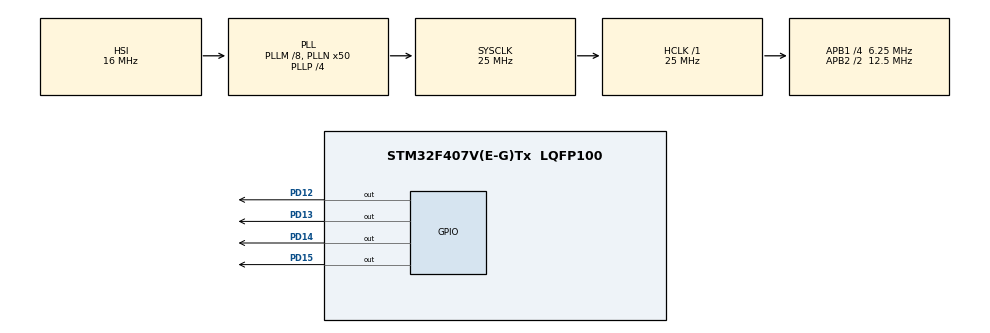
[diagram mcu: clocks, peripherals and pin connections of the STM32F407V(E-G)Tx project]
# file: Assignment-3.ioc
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FREERTOS.INCLUDE_vTaskDelayUntil=1
FREERTOS.Tasks01=defaultTask,-3,128,StartDefaultTask,Default,NULL,Dynamic,NULL,NULL
FREERTOS.configUSE_NEWLIB_REENTRANT=1
Mcu.Family=STM32F4
Mcu.Name=STM32F407V(E-G)Tx
Mcu.Package=LQFP100
NVIC.PriorityGroup=NVIC_PRIORITYGROUP_4
NVIC.TIM1_UP_TIM10_IRQn=true\:15\:0\:false\:false\:true\:false\:false\:true\:true
NVIC.TimeBase=TIM1_UP_TIM10_IRQn
NVIC.TimeBaseIP=TIM1
PD12.Signal=GPIO_Output
PD13.Signal=GPIO_Output
PD14.Signal=GPIO_Output
PD15.Signal=GPIO_Output
ProjectManager.HeapSize=0x200
ProjectManager.StackSize=0x400
ProjectManager.TargetToolchain=STM32CubeIDE
RCC.48MHZClocksFreq_Value=14285714.285714285
RCC.AHBFreq_Value=25000000
RCC.APB1CLKDivider=RCC_HCLK_DIV4
RCC.APB1Freq_Value=6250000
RCC.APB1TimFreq_Value=12500000
RCC.APB2CLKDivider=RCC_HCLK_DIV2
RCC.APB2Freq_Value=12500000
RCC.APB2TimFreq_Value=25000000
RCC.CortexFreq_Value=25000000
RCC.HCLKFreq_Value=25000000
RCC.HSE_VALUE=8000000
RCC.HSI_VALUE=16000000
RCC.LSE_VALUE=32768
RCC.PLLM=8
RCC.PLLN=50
RCC.PLLP=RCC_PLLP_DIV4
RCC.PLLQ=7
RCC.SYSCLKFreq_VALUE=25000000
RCC.SYSCLKSource=RCC_SYSCLKSOURCE_PLLCLK
RCC.VCOOutputFreq_Value=100000000
VP_FREERTOS_VS_CMSIS_V1.Mode=CMSIS_V1
VP_SYS_VS_tim1.Mode=TIM1
board=STM32F407G-DISC1

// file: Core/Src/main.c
/* USER CODE BEGIN Header */
/**
  ******************************************************************************
  * @file           : main.c
  * @brief          : Main program body
  ******************************************************************************
  * @attention
  *
  * Copyright (c) 2024 STMicroelectronics.
  * All rights reserved.
  *
  * This software is licensed under terms that can be found in the LICENSE file
  * in the root directory of this software component.
  * If no LICENSE file comes with this software, it is provided AS-IS.
  *
  ******************************************************************************
  */
/* USER CODE END Header */
#include "main.h"
#include "cmsis_os.h"

osThreadId defaultTaskHandle;

void SystemClock_Config(void);
static void MX_GPIO_Init(void);
void StartDefaultTask(void const * argument);

/* USER CODE BEGIN 0 */
void vContinuousTask(void *pvParam)
{
	uint16_t pin = (uint16_t)pvParam;
	while(1)
	{
		HAL_GPIO_TogglePin(GPIOD, pin);
		vTaskDelay(2000 / portTICK_RATE_MS);
	}
	vTaskDelete(NULL);
}

/* USER CODE END 0 */

int main(void)
{

  /* USER CODE BEGIN 1 */
	BaseType_t xRet;

  /* USER CODE END 1 */

  /* MCU Configuration--------------------------------------------------------*/

  /* Reset of all peripherals, Initializes the Flash interface and the Systick. */
  HAL_Init();

  /* Configure the system clock */
  SystemClock_Config();

  /* Initialize all configured peripherals */
  MX_GPIO_Init();

  /* Create the thread(s) */
  /* definition and creation of defaultTask */
  osThreadDef(defaultTask, StartDefaultTask, osPriorityIdle, 0, 128);
  defaultTaskHandle = osThreadCreate(osThread(defaultTask), NULL);

  /* USER CODE BEGIN RTOS_THREADS */
 xRet = xTaskCreate(vContinuousTask, "Task1", configMINIMAL_STACK_SIZE , (void *)GPIO_PIN_12, 4, NULL);
      if(xRet != pdTRUE)
      {
  	  Error_Handler();
      }

 xRet = xTaskCreate(vContinuousTask, "Task2", configMINIMAL_STACK_SIZE , (void *)GPIO_PIN_13, 4, NULL);
      if(xRet != pdTRUE)
      {
    	Error_Handler();
      }

 xRet = xTaskCreate(vContinuousTask, "Task3", configMINIMAL_STACK_SIZE , (void *)GPIO_PIN_14, 4, NULL);
      if(xRet != pdTRUE)
      {
      	 Error_Handler();
      }

 xRet = xTaskCreate(vContinuousTask, "Task4", configMINIMAL_STACK_SIZE , (void *)GPIO_PIN_15, 4, NULL);
        if(xRet != pdTRUE)
        {
          Error_Handler();\
        }
  /* add threads, ... */
  /* USER CODE END RTOS_THREADS */

  /* Start scheduler */
  osKernelStart();

  /* We should never get here as control is now taken by the scheduler */

  /* Infinite loop */
  while (1)
  {

  }
}

void SystemClock_Config(void)
{
  RCC_OscInitTypeDef RCC_OscInitStruct = {0};
  RCC_ClkInitTypeDef RCC_ClkInitStruct = {0};

  /** Configure the main internal regulator output voltage
  */
  __HAL_RCC_PWR_CLK_ENABLE();
  __HAL_PWR_VOLTAGESCALING_CONFIG(PWR_REGULATOR_VOLTAGE_SCALE1);

  /** Initializes the RCC Oscillators according to the specified parameters
  * in the RCC_OscInitTypeDef structure.
  */
  RCC_OscInitStruct.OscillatorType = RCC_OSCILLATORTYPE_HSI;
  RCC_OscInitStruct.HSIState = RCC_HSI_ON;
  RCC_OscInitStruct.HSICalibrationValue = RCC_HSICALIBRATION_DEFAULT;
  RCC_OscInitStruct.PLL.PLLState = RCC_PLL_ON;
  RCC_OscInitStruct.PLL.PLLSource = RCC_PLLSOURCE_HSI;
  RCC_OscInitStruct.PLL.PLLM = 8;
  RCC_OscInitStruct.PLL.PLLN = 50;
  RCC_OscInitStruct.PLL.PLLP = RCC_PLLP_DIV4;
  RCC_OscInitStruct.PLL.PLLQ = 7;
  if (HAL_RCC_OscConfig(&RCC_OscInitStruct) != HAL_OK)
  {
    Error_Handler();
  }

  /** Initializes the CPU, AHB and APB buses clocks
  */
  RCC_ClkInitStruct.ClockType = RCC_CLOCKTYPE_HCLK|RCC_CLOCKTYPE_SYSCLK
                              |RCC_CLOCKTYPE_PCLK1|RCC_CLOCKTYPE_PCLK2;
  RCC_ClkInitStruct.SYSCLKSource = RCC_SYSCLKSOURCE_PLLCLK;
  RCC_ClkInitStruct.AHBCLKDivider = RCC_SYSCLK_DIV1;
  RCC_ClkInitStruct.APB1CLKDivider = RCC_HCLK_DIV4;
  RCC_ClkInitStruct.APB2CLKDivider = RCC_HCLK_DIV2;

  if (HAL_RCC_ClockConfig(&RCC_ClkInitStruct, FLASH_LATENCY_0) != HAL_OK)
  {
    Error_Handler();
  }
}

static void MX_GPIO_Init(void)
{
  GPIO_InitTypeDef GPIO_InitStruct = {0};

  /* GPIO Ports Clock Enable */
  __HAL_RCC_GPIOD_CLK_ENABLE();

  /*Configure GPIO pin Output Level */
  HAL_GPIO_WritePin(GPIOD, GPIO_PIN_12|GPIO_PIN_13|GPIO_PIN_14|GPIO_PIN_15, GPIO_PIN_RESET);

  /*Configure GPIO pins : PD12 PD13 PD14 PD15 */
  GPIO_InitStruct.Pin = GPIO_PIN_12|GPIO_PIN_13|GPIO_PIN_14|GPIO_PIN_15;
  GPIO_InitStruct.Mode = GPIO_MODE_OUTPUT_PP;
  GPIO_InitStruct.Pull = GPIO_NOPULL;
  GPIO_InitStruct.Speed = GPIO_SPEED_FREQ_LOW;
  HAL_GPIO_Init(GPIOD, &GPIO_InitStruct);

}

void StartDefaultTask(void const * argument)
{
  for(;;)
  {
    osDelay(1);
  }
}

void HAL_TIM_PeriodElapsedCallback(TIM_HandleTypeDef *htim)
{
  if (htim->Instance == TIM1) {
    HAL_IncTick();
  }
}

void Error_Handler(void)
{
  __disable_irq();
  while (1)
  {
  }
}
